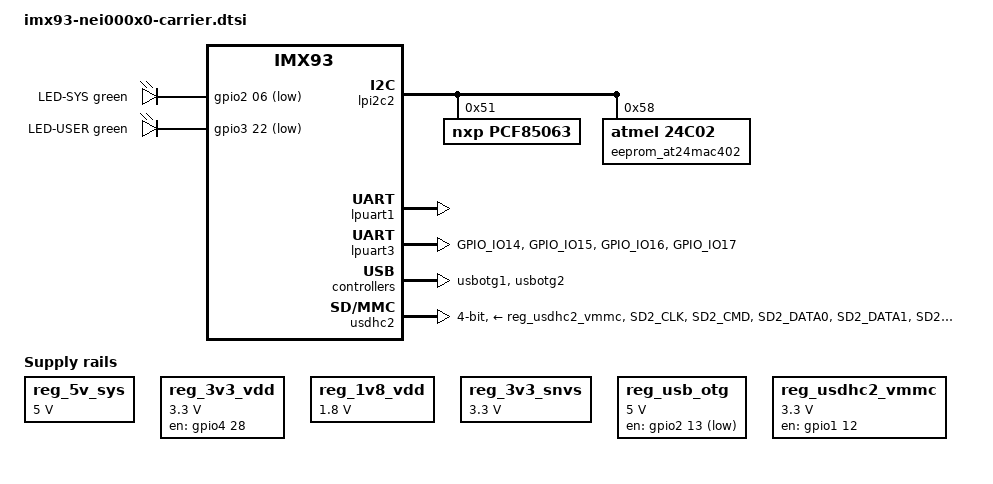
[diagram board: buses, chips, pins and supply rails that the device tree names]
// SPDX-License-Identifier: (GPL-2.0+ OR MIT)
/*
 * Copyright 2022 NXP
 */


#include <dt-bindings/leds/common.h>

/ {

	aliases {
		rtc0 = &pcf85063;
	};

	// REGULATORS
	reg_5v_sys: regulator-5V-sys {
		// U1 system voltage 5V AOZ1284P
		compatible = "regulator-fixed";
		regulator-name = "SYS_5V";
		regulator-min-microvolt = <5000000>;
		regulator-max-microvolt = <5000000>;
	};

	reg_3v3_vdd: regulator-3V3-vdd {
		// U2 vdd voltage 3V3 RT8070ZSP
		compatible = "regulator-fixed";
		pinctrl-names = "default";
		pinctrl-0 = <&pinctrl_ps_reg>;
		regulator-name = "VDD_3V3";
		regulator-min-microvolt = <3300000>;
		regulator-max-microvolt = <3300000>;
		gpio = <&gpio4 28 GPIO_ACTIVE_HIGH>;
		enable-active-high;
	};

	reg_1v8_vdd: regulator-1V8 {
		// U5 reg voltage 1V8 
		compatible = "regulator-fixed";
		regulator-name = "REG_1V8";
		regulator-min-microvolt = <1800000>;
		regulator-max-microvolt = <1800000>;
	};

	reg_3v3_snvs: regulator-3v3-snvs {
		// U19 reg SNVS 3V3
		compatible = "regulator-fixed";
		regulator-name = "SNVS_3V3";
		regulator-min-microvolt = <3300000>;
		regulator-max-microvolt = <3300000>;
	};

	reg_usb_otg: regulator-usbotg {
		// U3
		compatible = "regulator-fixed";
		pinctrl-names = "default";
		pinctrl-0 = <&pinctrl_reg_usb_otg>;
		regulator-name = "USB_OTG_PWR";
		regulator-min-microvolt = <5000000>;
		regulator-max-microvolt = <5000000>;
		gpio = <&gpio2 13 GPIO_ACTIVE_LOW>;
		off-on-delay-us = <12000>;
		enable-active-LOW;
	};

	reg_usdhc2_vmmc: regulator-usdhc2 {
		// U1 SWOUT
		compatible = "regulator-fixed";
		pinctrl-names = "default";
		pinctrl-0 = <&pinctrl_reg_usdhc2_vmmc>;
		regulator-name = "VSD_3V3";
		regulator-min-microvolt = <3300000>;
		regulator-max-microvolt = <3300000>;
		//gpio = <&gpio3 7 GPIO_ACTIVE_HIGH>;
		gpio = <&gpio1 12 GPIO_ACTIVE_HIGH>;
		off-on-delay-us = <12000>;
		enable-active-high;
	};

	led-controller {
		compatible = "gpio-leds";
		pinctrl-names = "default";
		pinctrl-0 = <&pinctrl_leds>;

		led-SYS { // SYSTEM
			color = <LED_COLOR_ID_GREEN>;
			default-state = "off";
			function = LED_FUNCTION_INDICATOR;
			gpios = <&gpio2 06 GPIO_ACTIVE_LOW>;
			label = "LED-SYS";
		};

		led-USER { // USER
			color = <LED_COLOR_ID_GREEN>;
			default-state = "off";
			function = LED_FUNCTION_STATUS;
			gpios = <&gpio3 22 GPIO_ACTIVE_LOW>;
			label = "LED-USER";
		};
	};

};

//=============================================================================
//=== CAN1
//=============================================================================
&flexcan1 {
	status = "disabled";
};

//=============================================================================
//=== CAN2
//=============================================================================
&flexcan2 {
	status = "disabled";
};

//=============================================================================
//=== I2C2
//=============================================================================
&lpi2c2 {
	pcf85063: rtc@51 {
		compatible = "nxp,pcf85063";
		reg = <0x51>;
	};

	eeprom_at24mac402: eeprom@58 {
		compatible = "atmel,24c02"; /* EEPROM is 2Kbits microchip 24aa025e48, an at24c02 with page size of 16 */
		reg = <0x58>;
		pagesize = <16>;
	};
	
};

//=============================================================================
//=== UART1 console
//=============================================================================
&lpuart1 { /* console */
	status = "okay";
};

//=============================================================================
//=== UART3 RS232 (can be used as rs485, it depends on mounted chips)
//=============================================================================
&lpuart3 {
	pinctrl-names = "default";
	pinctrl-0 = <&pinctrl_uart3>;
	//linux,rs485-enabled-at-boot-time;
	uart-has-rtscts;
	status = "okay";
};

//=============================================================================
//=== UART7 RS232 (can be used as rs485, it depends on mounted chips)
//=============================================================================
&lpuart7 {
	pinctrl-names = "default";
	pinctrl-0 = <&pinctrl_uart7>;
	//linux,rs485-enabled-at-boot-time;
	uart-has-rtscts;
	status = "disabled";
};

//=============================================================================
//=== USB2 otg
//=============================================================================
&usbotg1 {
	status = "okay";
};

//=============================================================================
//=== USB2 host
//=============================================================================
&usbotg2 {
	status = "okay";
};

//=============================================================================
//=== USDHC2 usd
//=============================================================================
&usdhc2 {
	pinctrl-names = "default";
	pinctrl-0 = <&pinctrl_usdhc2>, <&pinctrl_usdhc2_gpio>;	
	cd-gpios = <&gpio3 0 GPIO_ACTIVE_LOW>;
	vmmc-supply = <&reg_usdhc2_vmmc>;
	bus-width = <4>;
	no-sdio;
	no-mmc;
	status = "okay";
};



//=============================================================================
//#############################################################################
//=== PINMUX
//#############################################################################
//=============================================================================
&iomuxc {

	pinctrl_reg_usdhc2_vmmc: regusdhc2vmmcgrp {
		fsl,pins = <
			//MX93_PAD_SD2_RESET_B__GPIO3_IO07							0x31e
			MX93_PAD_SAI1_TXC__GPIO1_IO12								0x31e
		>;
	};

	pinctrl_ps_reg: psreggrp {
		fsl,pins = <
			MX93_PAD_CCM_CLKO3__GPIO4_IO28								0x31e
		>;
	};

	pinctrl_reg_usb_otg: regusbotggrp {
		fsl,pins = <
			MX93_PAD_GPIO_IO13__GPIO2_IO13								0x31e
		>;
	};

	pinctrl_leds: ledsgrp {
		fsl,pins = <
			MX93_PAD_GPIO_IO06__GPIO2_IO06								0x91e
			MX93_PAD_SD3_DATA0__GPIO3_IO22								0x91e
		>;
	};

	pinctrl_uart3: uart3grp {
		fsl,pins = <
		    MX93_PAD_GPIO_IO14__LPUART3_TX								0x31e
            MX93_PAD_GPIO_IO15__LPUART3_RX								0x31e
            MX93_PAD_GPIO_IO16__LPUART3_CTS_B							0x31e
            MX93_PAD_GPIO_IO17__LPUART3_RTS_B							0x31e
		>;
	};

	pinctrl_uart7: uart7grp {
		fsl,pins = <
		    MX93_PAD_GPIO_IO08__LPUART7_TX								0x31e
            MX93_PAD_GPIO_IO09__LPUART7_RX								0x31e
            MX93_PAD_GPIO_IO10__LPUART7_CTS_B							0x31e
            MX93_PAD_GPIO_IO11__LPUART7_RTS_B							0x31e
		>;
	};
	
	pinctrl_usdhc2_gpio: usdhc2gpiogrp {
		fsl,pins = <
			MX93_PAD_SD2_CD_B__GPIO3_IO00								0x31e
		>;
	};
	
	/* need to config the SION for data and cmd pad, refer to ERR052021 */
	pinctrl_usdhc2: usdhc2grp {
		fsl,pins = <
			MX93_PAD_SD2_CLK__USDHC2_CLK								0x1582
			MX93_PAD_SD2_CMD__USDHC2_CMD								0x40001382
			MX93_PAD_SD2_DATA0__USDHC2_DATA0							0x40001382
			MX93_PAD_SD2_DATA1__USDHC2_DATA1							0x40001382
			MX93_PAD_SD2_DATA2__USDHC2_DATA2							0x40001382
			MX93_PAD_SD2_DATA3__USDHC2_DATA3							0x40001382
			MX93_PAD_SD2_VSELECT__USDHC2_VSELECT						0x51e
		>;
	};

	/* need to config the SION for data and cmd pad, refer to ERR052021 */
	pinctrl_usdhc2_100mhz: usdhc2-100mhzgrp {
		fsl,pins = <
			MX93_PAD_SD2_CLK__USDHC2_CLK								0x158e
			MX93_PAD_SD2_CMD__USDHC2_CMD								0x4000138e
			MX93_PAD_SD2_DATA0__USDHC2_DATA0							0x4000138e
			MX93_PAD_SD2_DATA1__USDHC2_DATA1							0x4000138e
			MX93_PAD_SD2_DATA2__USDHC2_DATA2							0x4000138e
			MX93_PAD_SD2_DATA3__USDHC2_DATA3							0x4000138e
			MX93_PAD_SD2_VSELECT__USDHC2_VSELECT						0x51e
		>;
	};

	/* need to config the SION for data and cmd pad, refer to ERR052021 */
	pinctrl_usdhc2_200mhz: usdhc2-200mhzgrp {
		fsl,pins = <
			MX93_PAD_SD2_CLK__USDHC2_CLK								0x15fe
			MX93_PAD_SD2_CMD__USDHC2_CMD								0x400013fe
			MX93_PAD_SD2_DATA0__USDHC2_DATA0							0x400013fe
			MX93_PAD_SD2_DATA1__USDHC2_DATA1							0x400013fe
			MX93_PAD_SD2_DATA2__USDHC2_DATA2							0x400013fe
			MX93_PAD_SD2_DATA3__USDHC2_DATA3							0x400013fe
			MX93_PAD_SD2_VSELECT__USDHC2_VSELECT						0x51e
		>;
	};
};
